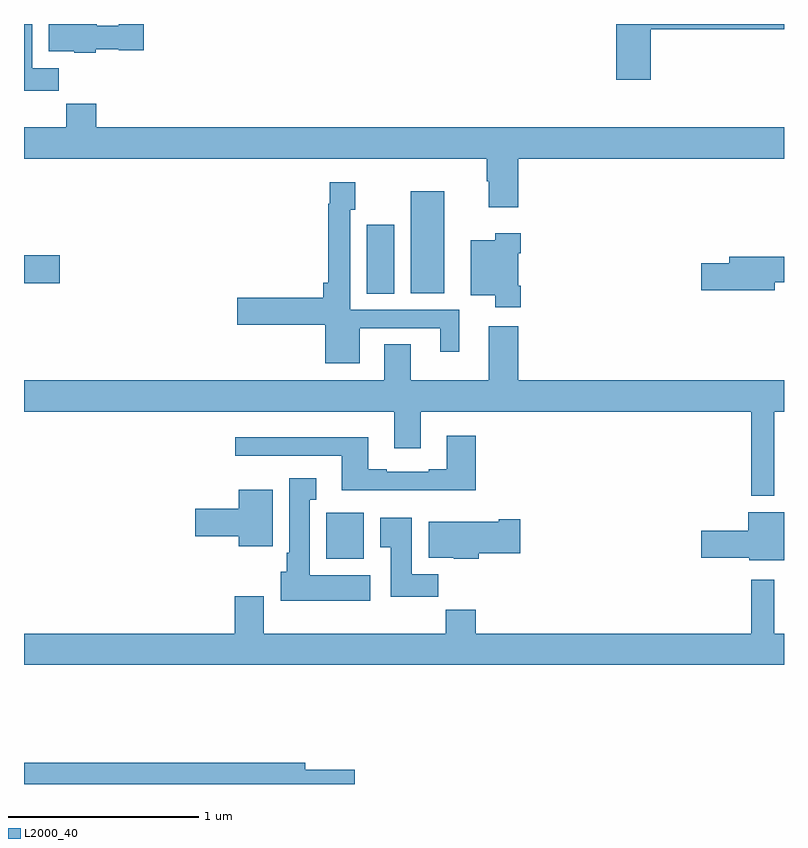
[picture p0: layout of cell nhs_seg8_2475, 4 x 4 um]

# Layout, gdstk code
import gdstk
lib = gdstk.Library(unit=1e-6, precision=1e-09)
def R(c, l, rs):  # rectangles x0, y0, x1, y1
    for r in rs: c.add(gdstk.rectangle(r[:2], r[2:], *l))
def P(c, l, *ps):  # polygons
    for p in ps: c.add(gdstk.Polygon(p, *l))
L2000_40 = (2000, 40)

nhs_seg8_2475 = lib.new_cell('nhs_seg8_2475')
R(nhs_seg8_2475, L2000_40, [(268.592,1089.086,268.789,1089.328), (268.805,1090.48,268.948,1090.843), (269.036,1090.484,269.212,1091.02), (267,1090.535,267.187,1090.682)])
P(nhs_seg8_2475, L2000_40, [(270.299,1091.872),(271,1091.872),(271,1091.9),(270.116,1091.9),(270.116,1091.607),(270.299,1091.607)],
  [(267.182,1091.668),(267.043,1091.668),(267.043,1091.9),(267,1091.9),(267,1091.55),(267.182,1091.55)],
  [(267.378,1091.768),(267.498,1091.768),(267.498,1091.761),(267.631,1091.761),(267.631,1091.9),(267.498,1091.9),(267.498,1091.89),(267.382,1091.89),(267.382,1091.9),(267.131,1091.9),(267.131,1091.756),(267.264,1091.756),(267.264,1091.75),(267.378,1091.75)],
  [(269.6,1091.192),(271,1091.192),(271,1091.356),(267.38,1091.356),(267.38,1091.48),(267.223,1091.48),(267.223,1091.356),(267,1091.356),(267,1091.192),(269.435,1091.192),(269.435,1091.072),(269.447,1091.072),(269.447,1090.935),(269.6,1090.935)],
  [(268.768,1090.299),(269.192,1090.299),(269.192,1090.176),(269.29,1090.176),(269.29,1090.395),(268.716,1090.395),(268.716,1090.923),(268.743,1090.923),(268.743,1091.068),(268.608,1091.068),(268.608,1090.955),(268.6,1090.955),(268.6,1090.537),(268.574,1090.537),(268.574,1090.46),(268.122,1090.46),(268.122,1090.318),(268.586,1090.318),(268.586,1090.115),(268.768,1090.115)],
  [(269.615,1090.522),(269.602,1090.522),(269.602,1090.694),(269.615,1090.694),(269.615,1090.798),(269.48,1090.798),(269.48,1090.762),(269.351,1090.762),(269.351,1090.472),(269.48,1090.472),(269.48,1090.41),(269.615,1090.41)],
  [(270.952,1090.54),(271,1090.54),(271,1090.676),(270.713,1090.676),(270.713,1090.64),(270.564,1090.64),(270.564,1090.498),(270.952,1090.498)],
  [(270.949,1089.86),(271,1089.86),(271,1090.024),(269.6,1090.024),(269.6,1090.309),(269.447,1090.309),(269.447,1090.024),(269.035,1090.024),(269.035,1090.214),(268.895,1090.214),(268.895,1090.024),(267,1090.024),(267,1089.86),(268.949,1089.86),(268.949,1089.666),(269.089,1089.666),(269.089,1089.86),(270.828,1089.86),(270.828,1089.416),(270.949,1089.416)],
  [(269.378,1089.733),(269.225,1089.733),(269.225,1089.556),(269.129,1089.556),(269.129,1089.543),(268.909,1089.543),(268.909,1089.556),(268.813,1089.556),(268.813,1089.724),(268.113,1089.724),(268.113,1089.627),(268.673,1089.627),(268.673,1089.446),(269.378,1089.446)],
  [(268.822,1088.998),(268.504,1088.998),(268.504,1089.395),(268.537,1089.395),(268.537,1089.508),(268.397,1089.508),(268.397,1089.118),(268.382,1089.118),(268.382,1089.018),(268.352,1089.018),(268.352,1088.864),(268.822,1088.864)],
  [(268.309,1089.448),(268.13,1089.448),(268.13,1089.35),(267.9,1089.35),(267.9,1089.203),(268.13,1089.203),(268.13,1089.152),(268.309,1089.152)],
  [(271,1089.331),(270.812,1089.331),(270.812,1089.233),(270.564,1089.233),(270.564,1089.091),(270.816,1089.091),(270.816,1089.077),(271,1089.077)],
  [(269.18,1089.004),(269.041,1089.004),(269.041,1089.301),(268.874,1089.301),(268.874,1089.145),(268.931,1089.145),(268.931,1088.886),(269.18,1088.886)],
  [(269.393,1089.115),(269.611,1089.115),(269.611,1089.293),(269.498,1089.293),(269.498,1089.28),(269.129,1089.28),(269.129,1089.092),(269.262,1089.092),(269.262,1089.086),(269.393,1089.086)],
  [(271,1088.692),(270.949,1088.692),(270.949,1088.974),(270.828,1088.974),(270.828,1088.692),(269.378,1088.692),(269.378,1088.816),(269.221,1088.816),(269.221,1088.692),(268.261,1088.692),(268.261,1088.887),(268.109,1088.887),(268.109,1088.692),(267,1088.692),(267,1088.528),(271,1088.528)],
  [(268.741,1087.976),(268.48,1087.976),(268.48,1088.012),(267,1088.012),(267,1087.9),(268.741,1087.9)])

lib.write_gds('nhs_seg8_2475.gds')
